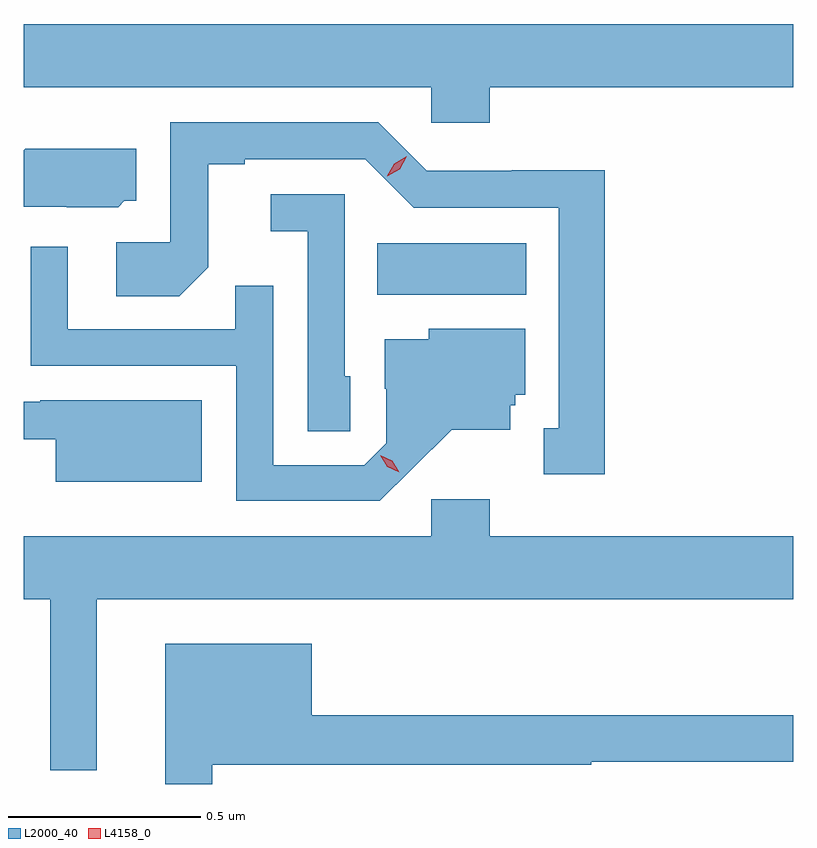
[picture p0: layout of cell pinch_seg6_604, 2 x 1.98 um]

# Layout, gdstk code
import gdstk
lib = gdstk.Library(unit=1e-6, precision=1e-09)
def R(c, l, rs):  # rectangles x0, y0, x1, y1
    for r in rs: c.add(gdstk.rectangle(r[:2], r[2:], *l))
def P(c, l, *ps):  # polygons
    for p in ps: c.add(gdstk.Polygon(p, *l))
L2000_40 = (2000, 40)
L4158_0 = (4158, 0)

pinch_seg6_604 = lib.new_cell('pinch_seg6_604')
R(pinch_seg6_604, L2000_40, [(622.882,970.772,623.269,970.906)])
P(pinch_seg6_604, L2000_40, [(623.174,971.312),(623.963,971.312),(623.963,971.476),(621.963,971.476),(621.963,971.312),(623.022,971.312),(623.022,971.219),(623.174,971.219)],
  [(623.473,971.096),(623.232,971.096),(623.232,971.094),(623.01,971.094),(622.884,971.22),(622.344,971.22),(622.344,970.908),(622.203,970.908),(622.203,970.768),(622.367,970.768),(622.443,970.844),(622.443,971.112),(622.537,971.112),(622.537,971.124),(622.851,971.124),(622.977,970.998),(623.354,970.998),(623.354,970.425),(623.315,970.425),(623.315,970.305),(623.473,970.305)],
  [(622.224,971.016),(622.255,971.016),(622.255,971.152),(621.967,971.152),(621.963,971.148),(621.963,971.001),(622.074,971.001),(622.074,971),(622.208,971)],
  [(622.812,970.56),(622.797,970.56),(622.797,971.034),(622.605,971.034),(622.605,970.937),(622.701,970.937),(622.701,970.417),(622.812,970.417)],
  [(622.972,970.319),(623.075,970.421),(623.227,970.421),(623.227,970.485),(623.241,970.485),(623.241,970.512),(623.266,970.512),(623.266,970.684),(623.016,970.684),(623.016,970.657),(622.901,970.657),(622.901,970.528),(622.905,970.528),(622.905,970.386),(622.848,970.329),(622.611,970.329),(622.611,970.796),(622.513,970.796),(622.513,970.683),(622.077,970.683),(622.077,970.897),(621.981,970.897),(621.981,970.587),(622.515,970.587),(622.515,970.236),(622.888,970.236)],
  [(622.426,970.498),(622.006,970.498),(622.006,970.494),(621.963,970.494),(621.963,970.397),(622.046,970.397),(622.046,970.286),(622.426,970.286)],
  [(622.153,969.98),(623.963,969.98),(623.963,970.144),(623.174,970.144),(623.174,970.24),(623.022,970.24),(623.022,970.144),(621.963,970.144),(621.963,969.98),(622.032,969.98),(622.032,969.536),(622.153,969.536)],
  [(622.453,969.55),(623.438,969.55),(623.438,969.558),(623.963,969.558),(623.963,969.679),(622.711,969.679),(622.711,969.865),(622.331,969.865),(622.331,969.5),(622.453,969.5)])
P(pinch_seg6_604, L4158_0, [(622.908,971.08),(622.908,971.081),(622.926,971.113),(622.958,971.132),(622.958,971.132),(622.958,971.132),(622.94,971.099),(622.908,971.08)],
  [(622.939,970.31),(622.908,970.325),(622.89,970.355),(622.89,970.355),(622.89,970.355),(622.921,970.34),(622.939,970.311),(622.939,970.31)])

lib.write_gds('pinch_seg6_604.gds')
